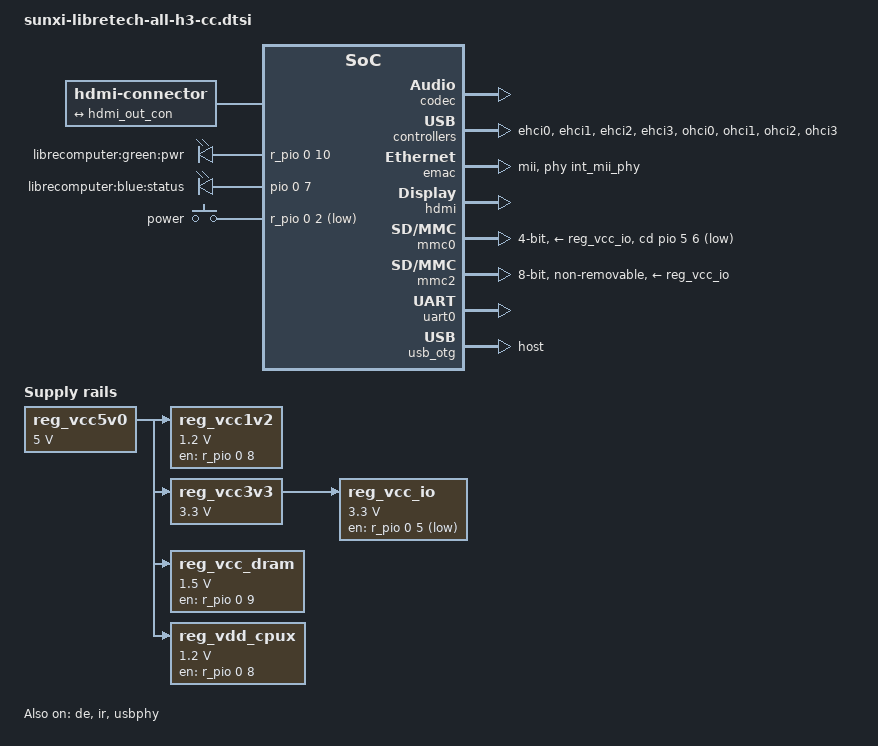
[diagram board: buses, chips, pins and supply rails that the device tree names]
// SPDX-License-Identifier: (GPL-2.0+ OR MIT)
/*
 * Copyright (C) 2017 Chen-Yu Tsai <wens@csie.org>
 */

#include <dt-bindings/gpio/gpio.h>
#include <dt-bindings/input/input.h>

/ {
	aliases {
		ethernet0 = &emac;
		serial0 = &uart0;
	};

	chosen {
		stdout-path = "serial0:115200n8";
	};

	connector {
		compatible = "hdmi-connector";
		type = "a";

		port {
			hdmi_con_in: endpoint {
				remote-endpoint = <&hdmi_out_con>;
			};
		};
	};

	leds {
		compatible = "gpio-leds";

		pwr_led {
			label = "librecomputer:green:pwr";
			gpios = <&r_pio 0 10 GPIO_ACTIVE_HIGH>; /* PL10 */
			default-state = "on";
		};

		status_led {
			label = "librecomputer:blue:status";
			gpios = <&pio 0 7 GPIO_ACTIVE_HIGH>; /* PA7 */
		};
	};

	gpio-keys {
		compatible = "gpio-keys";

		key-power {
			label = "power";
			linux,code = <KEY_POWER>;
			gpios = <&r_pio 0 2 GPIO_ACTIVE_LOW>; /* PL2 */
			wakeup-source;
		};
	};

	reg_vcc1v2: vcc1v2 {
		compatible = "regulator-fixed";
		regulator-name = "vcc1v2";
		regulator-min-microvolt = <1200000>;
		regulator-max-microvolt = <1200000>;
		regulator-always-on;
		regulator-boot-on;
		vin-supply = <&reg_vcc5v0>;
		gpio = <&r_pio 0 8 GPIO_ACTIVE_HIGH>; /* PL8 */
		enable-active-high;
	};

	reg_vcc3v3: vcc3v3 {
		compatible = "regulator-fixed";
		regulator-name = "vcc3v3";
		regulator-min-microvolt = <3300000>;
		regulator-max-microvolt = <3300000>;
		vin-supply = <&reg_vcc5v0>;
	};

	/* This represents the board's 5V input */
	reg_vcc5v0: vcc5v0 {
		compatible = "regulator-fixed";
		regulator-name = "vcc5v0";
		regulator-min-microvolt = <5000000>;
		regulator-max-microvolt = <5000000>;
	};

	reg_vcc_dram: vcc-dram {
		compatible = "regulator-fixed";
		regulator-name = "vcc-dram";
		regulator-min-microvolt = <1500000>;
		regulator-max-microvolt = <1500000>;
		regulator-always-on;
		regulator-boot-on;
		vin-supply = <&reg_vcc5v0>;
		gpio = <&r_pio 0 9 GPIO_ACTIVE_HIGH>; /* PL9 */
		enable-active-high;
	};

	reg_vcc_io: vcc-io {
		compatible = "regulator-fixed";
		regulator-name = "vcc-io";
		regulator-min-microvolt = <3300000>;
		regulator-max-microvolt = <3300000>;
		regulator-always-on;
		regulator-boot-on;
		vin-supply = <&reg_vcc3v3>;
		gpio = <&r_pio 0 5 GPIO_ACTIVE_LOW>; /* PL5 */
	};

	reg_vdd_cpux: vdd-cpux {
		compatible = "regulator-fixed";
		regulator-name = "vdd-cpux";
		regulator-min-microvolt = <1200000>;
		regulator-max-microvolt = <1200000>;
		regulator-always-on;
		regulator-boot-on;
		vin-supply = <&reg_vcc5v0>;
		gpio = <&r_pio 0 8 GPIO_ACTIVE_HIGH>; /* PL8 */
		enable-active-high;
	};
};

&codec {
	allwinner,audio-routing =
		"Line Out", "LINEOUT",
		"MIC1", "Mic",
		"Mic",  "MBIAS";
	status = "okay";
};

&cpu0 {
	cpu-supply = <&reg_vdd_cpux>;
};

&cpu1 {
	cpu-supply = <&reg_vdd_cpux>;
};

&cpu2 {
	cpu-supply = <&reg_vdd_cpux>;
};

&cpu3 {
	cpu-supply = <&reg_vdd_cpux>;
};

&de {
	status = "okay";
};

&ehci0 {
	status = "okay";
};

&ehci1 {
	status = "okay";
};

&ehci2 {
	status = "okay";
};

&ehci3 {
	status = "okay";
};

&emac {
	phy-handle = <&int_mii_phy>;
	phy-mode = "mii";
	allwinner,leds-active-low;
	status = "okay";
};

&hdmi {
	status = "okay";
};

&hdmi_out {
	hdmi_out_con: endpoint {
		remote-endpoint = <&hdmi_con_in>;
	};
};

&ir {
	pinctrl-names = "default";
	pinctrl-0 = <&r_ir_rx_pin>;
	status = "okay";
};

&mmc0 {
	vmmc-supply = <&reg_vcc_io>;
	bus-width = <4>;
	cd-gpios = <&pio 5 6 GPIO_ACTIVE_LOW>; /* PF6 */
	status = "okay";
};

&mmc2 {
	pinctrl-names = "default";
	pinctrl-0 = <&mmc2_8bit_pins>;
	vmmc-supply = <&reg_vcc_io>;
	bus-width = <8>;
	non-removable;
	status = "okay";
};

&ohci0 {
	status = "okay";
};

&ohci1 {
	status = "okay";
};

&ohci2 {
	status = "okay";
};

&ohci3 {
	status = "okay";
};

&uart0 {
	pinctrl-names = "default";
	pinctrl-0 = <&uart0_pa_pins>;
	status = "okay";
};

&usb_otg {
	dr_mode = "host";
	status = "okay";
};

&usbphy {
	/* VBUS on USB ports are always on */
	usb0_vbus-supply = <&reg_vcc5v0>;
	usb1_vbus-supply = <&reg_vcc5v0>;
	usb2_vbus-supply = <&reg_vcc5v0>;
	usb3_vbus-supply = <&reg_vcc5v0>;
	status = "okay";
};
